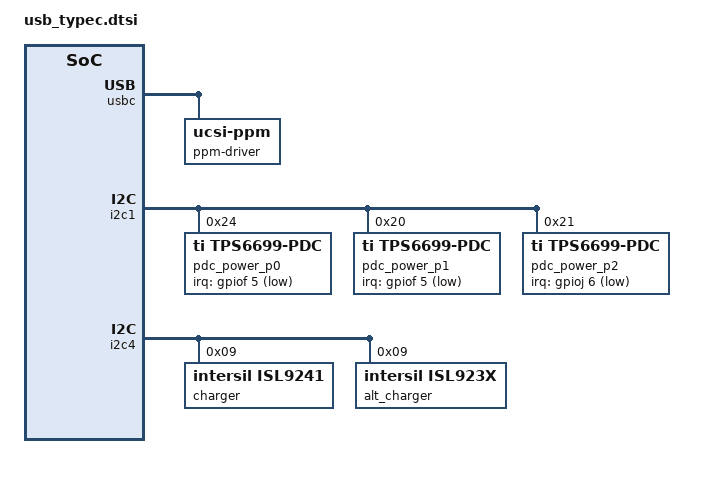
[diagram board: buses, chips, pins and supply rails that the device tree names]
/* Copyright 2025 The ChromiumOS Authors
 * Use of this source code is governed by a BSD-style license that can be
 * found in the LICENSE file.
 */

#include <usbc-policy.dtsi>

 /{
	usbc {
		#address-cells = <1>;
		#size-cells = <0>;
		usbc_port0: port0@0 {
			compatible = "named-usbc-port";
			reg = <0>;
			chg = <&charger>;
			chg_alt = <&alt_charger>;
			pdc = <&pdc_power_p0>;
			pd-retimer;
			policy = <&cros_policy>;
			zephyr,deferred-init;
		};
		usbc_port1: port1@1 {
			compatible = "named-usbc-port";
			reg = <1>;
			pdc = <&pdc_power_p1>;
			pd-retimer;
			policy = <&cros_policy>;
			zephyr,deferred-init;
		};
		usbc_port2: port2@2 {
			compatible = "named-usbc-port";
			reg = <2>;
			pdc = <&pdc_power_p2>;
			pd-retimer;
			policy = <&cros_policy>;
			zephyr,deferred-init;
		};
		ppm-driver {
			compatible = "ucsi-ppm";
			b-num-alt-modes = <2>;
		};
	};
};

&i2c1 {
	pdc_power_p0: tps6699-pdc@24 {
		compatible = "ti,tps6699-pdc";
		reg = <0x24>;
		irq-gpios = <&gpiof 5 GPIO_ACTIVE_LOW>;
		port-index-on-chip = <0x2>;
		no-fw-update;
		zephyr,deferred-init;
		ccd;
		frs-supported;
	};
	pdc_power_p1: tps6699-pdc@20 {
		compatible = "ti,tps6699-pdc";
		reg = <0x20>;
		irq-gpios = <&gpiof 5 GPIO_ACTIVE_LOW>;
		port-index-on-chip = <0x1>;
		zephyr,deferred-init;
		frs-supported;
	};
	pdc_power_p2: tps6699-pdc@21 {
		compatible = "ti,tps6699-pdc";
		reg = <0x21>;
		irq-gpios = <&gpioj 6 GPIO_ACTIVE_LOW>;
		port-index-on-chip = <0x1>;
		zephyr,deferred-init;
		frs-supported;
	};
};

&i2c4 {
	charger: isl9241@9 {
		compatible = "intersil,isl9241";
		status = "okay";
		reg = <0x9>;
	};
	alt_charger: isl9538@9 {
		compatible = "intersil,isl923x";
		status = "okay";
		reg = <0x9>;
	};
};
